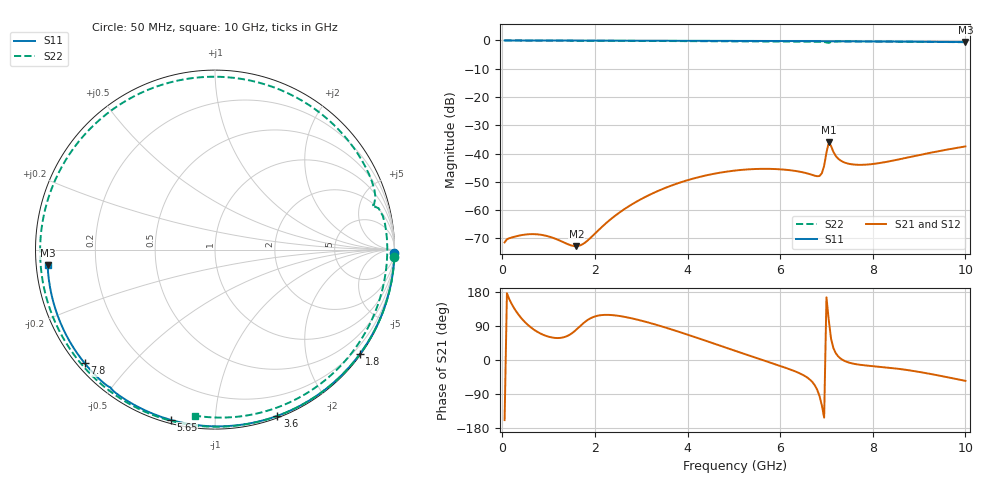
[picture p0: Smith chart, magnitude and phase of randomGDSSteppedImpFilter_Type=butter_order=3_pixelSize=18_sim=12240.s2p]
! freq	dB(S11)	phase(S11)	dB(S12)	phase(S12)
!  dB(S21)	phase(S21)	dB(S22)	phase(S22)
!S-par simulation data
#  GHz  S  DB  R 50
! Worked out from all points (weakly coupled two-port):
!   200 points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, 50 MHz to 10 GHz, reference 50 ohm
!   highest |S21| = -36.01 dB at 7.05 GHz (marker M1); lowest = -72.7 dB at 1.6 GHz (marker M2)
!   lowest |S11| = -0.6 dB at 10 GHz (marker M3), VSWR 30.56, Z = 1.64 - j2.36 ohm
!   |S11| at or under -10 dB: nowhere
!   |S22| runs from -0.8 to 0.0 dB; largest |S21 - S12| = 0
!   S11 on the Smith chart (normalised r, x): 50 MHz: open; 1.8 GHz: 0.03, -3.10; 3.6 GHz: 0.02, -1.44; 5.65 GHz: 0.02, -0.77; 7.8 GHz: 0.02, -0.37; 10 GHz: 0.03, -0.05
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0.05  -0.00 -1.0  -71.37 -158.6  -71.37 -158.6  -0.00 -2.4
0.2  -0.00 -4.1  -69.65 148.4  -69.65 148.4  -0.00 -9.8
0.7  -0.02 -14.1  -68.46 78.7  -68.46 78.7  -0.04 -34.0
1.15  -0.03 -23.1  -70.10 58.1  -70.10 58.1  -0.07 -55.5
1.6  -0.04 -31.9  -72.71 80.2  -72.71 80.2  -0.10 -76.6
1.75  -0.04 -34.8  -71.86 97.0  -71.86 97.0  -0.11 -83.6
1.8  -0.05 -35.8  -71.29 101.9  -71.29 101.9  -0.11 -85.9
2.55  -0.06 -50.1  -60.59 115.8  -60.59 115.8  -0.15 -120.4
3.4  -0.09 -65.8  -52.92 90.2  -52.92 90.2  -0.20 -159.8
3.6  -0.09 -69.4  -51.60 82.8  -51.60 82.8  -0.21 -169.3
4.3  -0.12 -81.8  -48.08 54.7  -48.08 54.7  -0.26 156.6
5.05  -0.15 -94.6  -45.94 23.4  -45.94 23.4  -0.30 118.2
5.65  -0.17 -104.6  -45.37 -1.4  -45.37 -1.4  -0.33 86.3
6.15  -0.20 -112.7  -45.75 -22.0  -45.75 -22.0  -0.35 59.7
6.7  -0.24 -121.6  -47.55 -58.8  -47.55 -58.8  -0.38 31.1
6.9  -0.25 -124.9  -46.96 -119.5  -46.96 -119.5  -0.45 20.7
7.05  -0.32 -127.1  -36.01 104.9  -36.01 104.9  -0.84 15.7
7.3  -0.29 -131.0  -42.39 4.3  -42.39 4.3  -0.36 3.5
7.8  -0.32 -138.9  -43.94 -13.8  -43.94 -13.8  -0.37 -19.0
8.35  -0.38 -147.6  -42.75 -20.3  -42.75 -20.3  -0.41 -41.1
9.15  -0.46 -160.5  -40.01 -34.6  -40.01 -34.6  -0.49 -69.7
10  -0.57 -174.6  -37.46 -55.0  -37.46 -55.0  -0.62 -96.8
